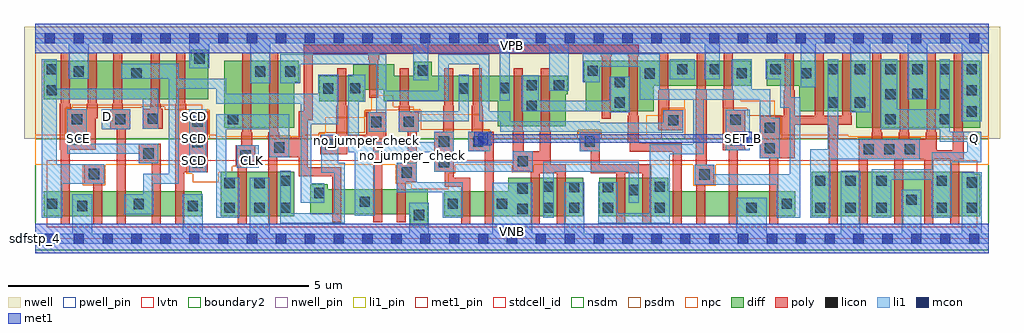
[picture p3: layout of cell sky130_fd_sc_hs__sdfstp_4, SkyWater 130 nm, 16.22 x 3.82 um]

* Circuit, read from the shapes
.subckt sky130_fd_sc_hs__sdfstp_4 CLK D Q SCD SCE SET_B VGND VNB VPB VPWR
XM1 VGND SCE n1 VNB sky130_fd_pr__nfet_01v8_lvt w=0.42 l=0.15
XM2 n2 n1 VGND VNB sky130_fd_pr__nfet_01v8_lvt w=0.42 l=0.15
XM3 n3 D n2 VNB sky130_fd_pr__nfet_01v8_lvt w=0.42 l=0.15
XM4 n4 SCE n3 VNB sky130_fd_pr__nfet_01v8_lvt w=0.42 l=0.15
XM5 VGND SCD n4 VNB sky130_fd_pr__nfet_01v8_lvt w=0.42 l=0.15
XM6 VGND CLK n5 VNB sky130_fd_pr__nfet_01v8_lvt w=0.74 l=0.15
XM7 n6 n5 VGND VNB sky130_fd_pr__nfet_01v8_lvt w=0.74 l=0.15
XM8 n7 n5 n3 VNB sky130_fd_pr__nfet_01v8_lvt w=0.42 l=0.15
XM9 n8 n6 n7 VNB sky130_fd_pr__nfet_01v8_lvt w=0.42 l=0.15
XM10 VGND n9 n8 VNB sky130_fd_pr__nfet_01v8_lvt w=0.42 l=0.15
XM11 n10 n7 n9 VNB sky130_fd_pr__nfet_01v8_lvt w=0.42 l=0.15
XM12 VGND SET_B n10 VNB sky130_fd_pr__nfet_01v8_lvt w=0.42 l=0.15
XM13 n11 n7 VGND VNB sky130_fd_pr__nfet_01v8_lvt w=0.64 l=0.15 m=2
XM14 n11 n6 n12 VNB sky130_fd_pr__nfet_01v8_lvt w=0.64 l=0.15 m=2
XM15 n13 n5 n12 VNB sky130_fd_pr__nfet_01v8_lvt w=0.42 l=0.15
XM16 n14 n15 n13 VNB sky130_fd_pr__nfet_01v8_lvt w=0.42 l=0.15
XM17 VGND SET_B n14 VNB sky130_fd_pr__nfet_01v8_lvt w=0.42 l=0.15
XM18 n15 n12 VGND VNB sky130_fd_pr__nfet_01v8_lvt w=0.42 l=0.15
XM19 VGND n12 n16 VNB sky130_fd_pr__nfet_01v8_lvt w=0.74 l=0.15
XM20 Q n16 VGND VNB sky130_fd_pr__nfet_01v8_lvt w=0.74 l=0.15 m=4
XM21 VPWR SCE n1 VPB sky130_fd_pr__pfet_01v8 w=0.64 l=0.15
XM22 n17 SCE VPWR VPB sky130_fd_pr__pfet_01v8 w=0.64 l=0.15
XM23 n3 D n17 VPB sky130_fd_pr__pfet_01v8 w=0.64 l=0.15
XM24 n18 n1 n3 VPB sky130_fd_pr__pfet_01v8 w=0.64 l=0.15
XM25 VPWR SCD n18 VPB sky130_fd_pr__pfet_01v8 w=0.64 l=0.15
XM26 VPWR CLK n5 VPB sky130_fd_pr__pfet_01v8 w=1.12 l=0.15
XM27 n6 n5 VPWR VPB sky130_fd_pr__pfet_01v8 w=1.12 l=0.15
XM28 n7 n6 n3 VPB sky130_fd_pr__pfet_01v8 w=0.42 l=0.15
XM29 n19 n5 n7 VPB sky130_fd_pr__pfet_01v8 w=0.42 l=0.15
XM30 VPWR n9 n19 VPB sky130_fd_pr__pfet_01v8 w=0.42 l=0.15
XM31 n9 n7 VPWR VPB sky130_fd_pr__pfet_01v8 w=0.42 l=0.15
XM32 VPWR SET_B n9 VPB sky130_fd_pr__pfet_01v8 w=0.42 l=0.15
XM33 n20 n7 VPWR VPB sky130_fd_pr__pfet_01v8 w=0.84 l=0.15 m=2
XM34 n20 n5 n12 VPB sky130_fd_pr__pfet_01v8 w=0.84 l=0.15 m=2
XM35 n21 n6 n12 VPB sky130_fd_pr__pfet_01v8 w=0.42 l=0.15
XM36 VPWR n15 n21 VPB sky130_fd_pr__pfet_01v8 w=0.42 l=0.15
XM37 n12 SET_B VPWR VPB sky130_fd_pr__pfet_01v8 w=0.42 l=0.15
XM38 VPWR n12 n15 VPB sky130_fd_pr__pfet_01v8 w=0.42 l=0.15
XM39 n16 n12 VPWR VPB sky130_fd_pr__pfet_01v8 w=0.84 l=0.15 m=2
XM40 Q n16 VPWR VPB sky130_fd_pr__pfet_01v8 w=1.12 l=0.15 m=4
.ends

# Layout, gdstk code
import gdstk
lib = gdstk.Library(unit=1e-6, precision=1e-09)
def R(c, l, rs):  # rectangles x0, y0, x1, y1
    for r in rs: c.add(gdstk.rectangle(r[:2], r[2:], *l))
def A(c, l, x, y, w, h, nx, ny, dx, dy):  # array of equal rectangles
    R(c, l, [(x+i*dx, y+j*dy, x+i*dx+w, y+j*dy+h) for i in range(nx) for j in range(ny)])
def P(c, l, *ps):  # polygons
    for p in ps: c.add(gdstk.Polygon(p, *l))
nwell_pin = (64, 16)
nwell = (64, 20)
diff = (65, 20)
poly = (66, 20)
licon = (66, 44)
li1_pin = (67, 16)
li1 = (67, 20)
mcon = (67, 44)
met1_pin = (68, 16)
met1 = (68, 20)
stdcell_id = (81, 4)
nsdm = (93, 44)
psdm = (94, 20)
npc = (95, 20)
pwell_pin = (122, 16)
lvtn = (125, 44)
boundary2 = (236, 0)

sky130_fd_sc_hs__sdfstp_ = lib.new_cell('sky130_fd_sc_hs__sdfstp_4')
R(sky130_fd_sc_hs__sdfstp_, nwell_pin, [(0,3.085,15.84,3.33)])
R(sky130_fd_sc_hs__sdfstp_, nwell, [(-0.19,1.66,16.03,3.52)])
R(sky130_fd_sc_hs__sdfstp_, diff, [(0.135,0.37,2.76,0.79), (3.08,0.37,4.3,1.11)])
P(sky130_fd_sc_hs__sdfstp_, diff, [(2.87,3.14),(2.58,3.14),(2.58,2.96),(0.135,2.96),(0.135,2.32),(2.87,2.32)],
  [(4.38,2.96),(3.14,2.96),(3.14,1.84),(4.3,1.84),(4.3,2.6),(4.38,2.6)],
  [(6.52,0.825),(4.86,0.825),(4.86,0.905),(4.57,0.905),(4.57,0.405),(6.23,0.405),(6.23,0.215),(6.52,0.215)],
  [(8.845,2.705),(6.585,2.705),(6.585,2.94),(6.295,2.94),(6.295,2.705),(5.965,2.705),(5.965,2.895),(5.285,2.895),(5.285,2.705),(4.72,2.705),(4.72,2.285),(5.46,2.285),(5.46,2.475),(5.79,2.475),(5.79,2.285),(7.685,2.285),(7.685,1.865),(8.815,1.865),(8.815,2.4),(8.845,2.4)],
  [(9.1,1.01),(7.855,1.01),(7.855,0.79),(6.79,0.79),(6.79,0.37),(9.1,0.37)],
  [(11.885,2.96),(9.115,2.96),(9.115,2.62),(9.145,2.62),(9.145,2.12),(10.275,2.12),(10.275,2.54),(11.885,2.54)],
  [(12.63,0.79),(10.52,0.79),(10.52,1.01),(9.37,1.01),(9.37,0.37),(12.63,0.37)],
  [(15.705,2.96),(12.155,2.96),(12.155,2.54),(12.69,2.54),(12.69,2.12),(13.645,2.12),(13.645,1.84),(15.705,1.84)],
  [(15.705,1.08),(15.6,1.08),(15.6,1.11),(12.9,1.11),(12.9,0.37),(15.705,0.37)])
P(sky130_fd_sc_hs__sdfstp_, poly, [(15.425,1.765),(15.41,1.765),(15.41,3.09),(15.26,3.09),(15.26,1.765),(15.245,1.765),(15.245,1.47),(14.975,1.47),(14.975,1.765),(14.96,1.765),(14.96,3.09),(14.81,3.09),(14.81,1.765),(14.795,1.765),(14.795,1.65),(14.525,1.65),(14.525,1.765),(14.51,1.765),(14.51,3.09),(14.36,3.09),(14.36,1.765),(14.345,1.765),(14.345,1.65),(14.075,1.65),(14.075,1.765),(14.06,1.765),(14.06,3.09),(13.91,3.09),(13.91,1.765),(13.895,1.765),(13.895,1.65),(13.685,1.65),(13.685,0.24),(13.835,0.24),(13.835,1.32),(14.27,1.32),(14.27,0.24),(14.42,0.24),(14.42,1.32),(14.77,1.32),(14.77,0.24),(14.92,0.24),(14.92,1.32),(15.2,1.32),(15.2,0.24),(15.35,0.24),(15.35,1.32),(15.425,1.32)],
  [(13.57,2.045),(13.555,2.045),(13.555,3.09),(13.405,3.09),(13.405,2.045),(13.39,2.045),(13.39,2.04),(13.12,2.04),(13.12,2.045),(13.105,2.045),(13.105,3.09),(12.955,3.09),(12.955,2.045),(12.94,2.045),(12.94,2.04),(12.615,2.04),(12.615,2.465),(12.6,2.465),(12.6,3.09),(12.45,3.09),(12.45,2.465),(12.435,2.465),(12.435,2.04),(12.04,2.04),(12.04,1.34),(12.195,1.34),(12.195,0.24),(12.345,0.24),(12.345,1.34),(12.615,1.34),(12.615,1.89),(13.185,1.89),(13.185,0.24),(13.335,0.24),(13.335,1.89),(13.57,1.89)],
  [(11.8,2.14),(11.605,2.14),(11.605,2.465),(11.59,2.465),(11.59,3.09),(11.44,3.09),(11.44,2.465),(11.425,2.465),(11.425,1.47),(11.525,1.47),(11.525,0.24),(11.675,0.24),(11.675,1.47),(11.8,1.47)],
  [(11.285,1.23),(11.155,1.23),(11.155,2.465),(11.14,2.465),(11.14,3.09),(10.99,3.09),(10.99,2.465),(10.975,2.465),(10.975,1.23),(10.955,1.23),(10.955,0.9),(10.985,0.9),(10.985,0.24),(11.135,0.24),(11.135,0.9),(11.285,0.9)],
  [(10.765,2.135),(10.53,2.135),(10.53,2.465),(10.515,2.465),(10.515,3.09),(10.365,3.09),(10.365,2.465),(10.35,2.465),(10.35,1.805),(10.765,1.805)],
  [(10.745,1.595),(10.025,1.595),(10.025,2.045),(10.01,2.045),(10.01,3.035),(10.025,3.035),(10.025,3.225),(4.455,3.225),(4.455,2.12),(4.375,2.12),(4.375,1.68),(4.05,1.68),(4.05,1.765),(4.035,1.765),(4.035,3.09),(3.885,3.09),(3.885,1.765),(3.87,1.765),(3.87,1.68),(3.865,1.68),(3.865,0.24),(4.015,0.24),(4.015,1.35),(4.375,1.35),(4.375,1.04),(4.935,1.04),(4.935,0.275),(5.085,0.275),(5.085,1.19),(4.525,1.19),(4.525,1.97),(4.605,1.97),(4.605,3.075),(5.535,3.075),(5.535,2.97),(5.55,2.97),(5.55,2.345),(5.7,2.345),(5.7,2.97),(5.715,2.97),(5.715,3.075),(9.395,3.075),(9.395,3.035),(9.41,3.035),(9.41,1.99),(9.56,1.99),(9.56,3.035),(9.575,3.035),(9.575,3.075),(9.845,3.075),(9.845,3.035),(9.86,3.035),(9.86,2.045),(9.845,2.045),(9.845,1.595),(9.875,1.595),(9.875,1.445),(10.595,1.445),(10.595,0.24),(10.745,0.24)],
  [(10.235,1.235),(9.375,1.235),(9.375,1.78),(9.045,1.78),(9.045,1.45),(9.225,1.45),(9.225,1.085),(9.655,1.085),(9.655,0.24),(9.805,0.24),(9.805,1.085),(10.085,1.085),(10.085,0.24),(10.235,0.24)],
  [(8.815,1.235),(8.565,1.235),(8.565,1.79),(8.55,1.79),(8.55,2.835),(8.4,2.835),(8.4,1.79),(8.385,1.79),(8.385,1.45),(8.115,1.45),(8.115,1.79),(8.1,1.79),(8.1,2.835),(7.95,2.835),(7.95,1.79),(7.935,1.79),(7.935,1.12),(8.235,1.12),(8.235,0.24),(8.385,0.24),(8.385,1.085),(8.665,1.085),(8.665,0.24),(8.815,0.24)],
  [(7.615,1.78),(7.435,1.78),(7.435,2.21),(7.42,2.21),(7.42,2.835),(7.27,2.835),(7.27,2.21),(7.255,2.21),(7.255,1.78),(7.195,1.78),(7.195,1.45),(7.465,1.45),(7.465,0.24),(7.615,0.24)],
  [(7.225,1.015),(6.955,1.015),(6.955,2.21),(6.94,2.21),(6.94,2.835),(6.79,2.835),(6.79,2.21),(6.775,2.21),(6.775,1.78),(6.625,1.78),(6.625,1.11),(6.805,1.11),(6.805,0.865),(7.075,0.865),(7.075,0.24),(7.225,0.24)],
  [(6.37,2.11),(6.22,2.11),(6.22,2.21),(6.205,2.21),(6.205,2.835),(6.055,2.835),(6.055,2.21),(6.04,2.21),(6.04,1.78),(6.185,1.78),(6.185,1.265),(6.005,1.265),(6.005,0.275),(6.155,0.275),(6.155,0.935),(6.335,0.935),(6.335,1.78),(6.37,1.78)],
  [(5.83,2.105),(5.5,2.105),(5.5,1.73),(5.18,1.73),(5.18,2.21),(5.165,2.21),(5.165,2.835),(5.015,2.835),(5.015,2.21),(5,2.21),(5,1.73),(4.735,1.73),(4.735,1.4),(5.18,1.4),(5.18,1.58),(5.615,1.58),(5.615,0.275),(5.765,0.275),(5.765,1.58),(5.83,1.58)],
  [(3.655,1.55),(3.6,1.55),(3.6,1.765),(3.585,1.765),(3.585,3.09),(3.435,3.09),(3.435,1.765),(3.42,1.765),(3.42,1.55),(3.325,1.55),(3.325,1.22),(3.365,1.22),(3.365,0.24),(3.515,0.24),(3.515,1.22),(3.655,1.22)],
  [(2.86,2.11),(2.505,2.11),(2.505,2.245),(2.49,2.245),(2.49,3.09),(2.34,3.09),(2.34,2.245),(2.325,2.245),(2.325,0.24),(2.475,0.24),(2.475,1.1),(2.86,1.1)],
  [(2.115,2.16),(2.085,2.16),(2.085,2.245),(2.07,2.245),(2.07,3.09),(1.92,3.09),(1.92,2.245),(1.905,2.245),(1.905,2.16),(1.785,2.16),(1.785,1.83),(2.115,1.83)],
  [(2.085,1.58),(1.715,1.58),(1.715,1.25),(1.935,1.25),(1.935,0.24),(2.085,0.24)],
  [(1.575,2.15),(1.455,2.15),(1.455,2.245),(1.44,2.245),(1.44,3.09),(1.29,3.09),(1.29,2.245),(1.275,2.245),(1.275,2.15),(1.245,2.15),(1.245,1.82),(1.35,1.82),(1.35,0.24),(1.5,0.24),(1.5,1.82),(1.575,1.82)],
  [(1.14,1.24),(0.81,1.24),(0.81,0.91),(0.96,0.91),(0.96,0.24),(1.11,0.24),(1.11,0.91),(1.14,0.91)],
  [(1.035,2.245),(1.02,2.245),(1.02,3.09),(0.87,3.09),(0.87,2.245),(0.855,2.245),(0.855,2.15),(0.585,2.15),(0.585,2.245),(0.57,2.245),(0.57,3.09),(0.42,3.09),(0.42,2.245),(0.405,2.245),(0.405,1.48),(0.42,1.48),(0.42,0.24),(0.57,0.24),(0.57,1.48),(1.005,1.48),(1.005,2),(1.035,2)])
A(sky130_fd_sc_hs__sdfstp_, licon, 2.61, 1.18, 0.17, 0.17, 1, 3, 0, 0.34)
A(sky130_fd_sc_hs__sdfstp_, licon, 13.765, 1.4, 0.17, 0.17, 3, 1, 0.34, 0)
A(sky130_fd_sc_hs__sdfstp_, licon, 14.125, 2.73, 0.17, 0.17, 4, 1, 0.45, 0)
R(sky130_fd_sc_hs__sdfstp_, licon, [(6.29,0.31,6.46,0.48), (8.01,0.41,8.18,0.58), (3.14,0.43,3.31,0.6), (3.64,0.43,3.81,0.6), (4.07,0.43,4.24,0.6), (8.44,0.43,8.61,0.6), (8.87,0.43,9.04,0.6), (9.43,0.43,9.6,0.6), (10.29,0.43,10.46,0.6), (11.815,0.43,11.985,0.6), (12.96,0.43,13.13,0.6), (13.46,0.43,13.63,0.6), (13.975,0.43,14.145,0.6), (14.975,0.43,15.145,0.6), (15.475,0.43,15.645,0.6), (0.695,0.46,0.865,0.63), (2.53,0.46,2.7,0.63), (1.63,0.49,1.8,0.66), (0.195,0.495,0.365,0.665), (6.85,0.495,7.02,0.665), (7.67,0.495,7.84,0.665), (12.4,0.495,12.57,0.665), (5.39,0.53,5.56,0.7), (14.475,0.56,14.645,0.73), (4.63,0.675,4.8,0.845), (9.86,0.725,10.03,0.895), (8.01,0.75,8.18,0.92), (8.87,0.77,9.04,0.94), (9.43,0.77,9.6,0.94), (8.44,0.78,8.61,0.95), (10.29,0.78,10.46,0.95), (3.14,0.84,3.31,1.01), (3.64,0.84,3.81,1.01), (15.475,0.85,15.645,1.02), (4.07,0.88,4.24,1.05), (12.96,0.88,13.13,1.05), (13.46,0.88,13.63,1.05), (13.975,0.88,14.145,1.05), (14.975,0.88,15.145,1.05), (11.035,0.98,11.205,1.15), (0.89,0.99,1.06,1.16), (6.085,1.015,6.255,1.185), (6.705,1.19,6.875,1.36), (8.015,1.2,8.185,1.37), (3.405,1.3,3.575,1.47), (1.795,1.33,1.965,1.5), (12.12,1.42,12.29,1.59), (3.965,1.43,4.135,1.6), (4.815,1.48,4.985,1.65), (6.705,1.53,6.875,1.7), (7.275,1.53,7.445,1.7), (9.125,1.53,9.295,1.7), (11.55,1.55,11.72,1.72), (0.605,1.56,0.775,1.73), (12.12,1.76,12.29,1.93), (5.58,1.855,5.75,2.025), (6.12,1.86,6.29,2.03), (10.515,1.885,10.685,2.055), (11.55,1.89,11.72,2.06), (0.605,1.9,0.775,2.07), (1.325,1.9,1.495,2.07), (3.2,1.9,3.37,2.07), (14.125,1.9,14.295,2.07), (15.025,1.9,15.195,2.07), (1.865,1.91,2.035,2.08), (15.475,2.03,15.645,2.2), (8.165,2.12,8.335,2.29), (9.625,2.18,9.795,2.35), (13.17,2.18,13.34,2.35), (13.62,2.18,13.79,2.35), (14.125,2.315,14.295,2.485), (15.025,2.315,15.195,2.485), (14.575,2.32,14.745,2.49), (0.185,2.38,0.355,2.55), (15.475,2.38,15.645,2.55), (4.78,2.41,4.95,2.58), (7.035,2.41,7.205,2.58), (5.23,2.415,5.4,2.585), (7.715,2.42,7.885,2.59), (8.165,2.465,8.335,2.635), (8.615,2.465,8.785,2.635), (9.625,2.52,9.795,2.69), (1.595,2.66,1.765,2.83), (10.125,2.66,10.295,2.83), (11.655,2.665,11.825,2.835), (12.72,2.665,12.89,2.835), (0.635,2.695,0.805,2.865), (3.65,2.695,3.82,2.865), (4.15,2.695,4.32,2.865), (9.175,2.705,9.345,2.875), (6.355,2.71,6.525,2.88), (0.185,2.73,0.355,2.9), (10.665,2.73,10.835,2.9), (11.205,2.73,11.375,2.9), (12.215,2.73,12.385,2.9), (13.17,2.73,13.34,2.9), (13.62,2.73,13.79,2.9), (2.64,2.91,2.81,3.08)])
A(sky130_fd_sc_hs__sdfstp_, li1_pin, 2.555, 1.21, 0.17, 0.17, 1, 3, 0, 0.37)
R(sky130_fd_sc_hs__sdfstp_, li1_pin, [(3.515,1.21,3.685,1.38), (0.635,1.58,0.805,1.75), (15.515,1.58,15.685,1.75), (1.115,1.95,1.285,2.12)])
R(sky130_fd_sc_hs__sdfstp_, li1, [(2.555,1.1,2.835,2.15), (3.345,1.18,3.715,1.55), (7.195,1.45,7.555,1.78), (11.47,1.47,11.87,2.14), (1.105,1.82,1.575,2.15), (10.545,2.65,10.955,2.98)])
P(sky130_fd_sc_hs__sdfstp_, li1, [(0.445,0.35),(0.105,0.35),(0.105,2.98),(0.355,2.98),(0.355,2.49),(2.045,2.49),(2.045,1.83),(1.785,1.83),(1.785,2.32),(0.355,2.32),(0.355,1.24),(1.14,1.24),(1.14,0.91),(0.445,0.91)],
  [(12.72,2.52),(12.72,3.245),(11.375,3.245),(11.375,2.65),(11.125,2.65),(11.125,3.245),(8.865,3.245),(8.865,2.46),(8.535,2.46),(8.535,3.245),(7.885,3.245),(7.885,2.29),(7.715,2.29),(7.715,3.245),(6.525,3.245),(6.525,2.63),(6.275,2.63),(6.275,3.245),(3.9,3.245),(3.9,2.58),(3.57,2.58),(3.57,3.245),(2.89,3.245),(2.89,2.83),(2.56,2.83),(2.56,3.245),(0.885,3.245),(0.885,2.66),(0.555,2.66),(0.555,3.245),(0,3.245),(0,3.415),(15.84,3.415),(15.84,3.245),(15.725,3.245),(15.725,1.95),(15.395,1.95),(15.395,3.245),(14.825,3.245),(14.825,2.32),(14.495,2.32),(14.495,3.245),(13.87,3.245),(13.87,2.1),(13.54,2.1),(13.54,3.245),(12.97,3.245),(12.97,2.52)],
  [(0.615,0.085),(0.615,0.74),(0.945,0.74),(0.945,0.085),(2.45,0.085),(2.45,0.74),(2.78,0.74),(2.78,0.085),(3.56,0.085),(3.56,1.01),(3.89,1.01),(3.89,0.085),(6.21,0.085),(6.21,0.6),(6.54,0.6),(6.54,0.085),(7.59,0.085),(7.59,0.93),(8.26,0.93),(8.26,0.085),(8.79,0.085),(8.79,0.94),(9.12,0.94),(9.12,0.085),(11.65,0.085),(11.65,0.68),(12.15,0.68),(12.15,0.085),(13.38,0.085),(13.38,1.13),(13.71,1.13),(13.71,0.085),(14.395,0.085),(14.395,0.81),(14.725,0.81),(14.725,0.085),(15.395,0.085),(15.395,1.1),(15.725,1.1),(15.725,0.085),(15.84,0.085),(15.84,-0.085),(0,-0.085),(0,0.085)],
  [(11.285,1.07),(12.54,1.07),(12.54,2.18),(12.38,2.18),(12.38,2.65),(12.135,2.65),(12.135,2.98),(12.55,2.98),(12.55,2.35),(12.71,2.35),(12.71,0.35),(12.32,0.35),(12.32,0.9),(10.955,0.9),(10.955,1.23),(11.285,1.23)],
  [(0.525,2.15),(0.855,2.15),(0.855,1.58),(2.045,1.58),(2.045,1.25),(1.715,1.25),(1.715,1.41),(0.525,1.41)],
  [(2.385,2.66),(3.175,2.66),(3.175,2.41),(4.7,2.41),(4.7,2.725),(5.03,2.725),(5.03,1.9),(4.58,1.9),(4.58,0.925),(4.8,0.925),(4.8,0.595),(4.41,0.595),(4.41,2.24),(3.005,2.24),(3.005,2.49),(2.385,2.49),(2.385,0.91),(1.96,0.91),(1.96,0.41),(1.475,0.41),(1.475,0.74),(1.79,0.74),(1.79,1.08),(2.215,1.08),(2.215,2.66),(1.425,2.66),(1.425,2.91),(2.385,2.91)],
  [(9.86,1.11),(8.61,1.11),(8.61,0.35),(8.44,0.35),(8.44,1.28),(10.03,1.28),(10.03,0.595),(9.86,0.595)],
  [(4.75,1.095),(4.75,1.73),(5.03,1.73),(5.03,1.265),(5.14,1.265),(5.14,0.255),(4.07,0.255),(4.07,1.13),(4.24,1.13),(4.24,0.425),(4.97,0.425),(4.97,1.095)],
  [(5.37,1.605),(6.625,1.605),(6.625,1.78),(6.955,1.78),(6.955,1.28),(7.935,1.28),(7.935,1.45),(8.265,1.45),(8.265,1.11),(6.625,1.11),(6.625,1.435),(5.64,1.435),(5.64,0.385),(5.31,0.385),(5.31,1.435),(5.2,1.435),(5.2,2.725),(5.48,2.725),(5.48,2.275),(5.37,2.275)],
  [(3.005,2.07),(4.215,2.07),(4.215,1.35),(3.885,1.35),(3.885,1.82),(3.175,1.82),(3.175,1.01),(3.39,1.01),(3.39,0.35),(3.005,0.35)],
  [(7.205,1.95),(6.37,1.95),(6.37,1.78),(6.04,1.78),(6.04,2.12),(7.035,2.12),(7.035,2.725),(7.205,2.725)],
  [(12.37,2.01),(12.21,2.01),(12.21,2.48),(11.905,2.48),(11.905,2.98),(11.575,2.98),(11.575,2.48),(10.375,2.48),(10.375,3.075),(9.095,3.075),(9.095,2.6),(9.375,2.6),(9.375,2.86),(10.045,2.86),(10.045,2.31),(10.935,2.31),(10.935,1.57),(10.21,1.57),(10.21,0.425),(9.68,0.425),(9.68,0.94),(9.35,0.94),(9.35,0.255),(10.54,0.255),(10.54,1.4),(11.105,1.4),(11.105,2.31),(12.04,2.31),(12.04,1.34),(12.37,1.34)],
  [(15.715,1.78),(15.195,1.78),(15.195,2.98),(15.025,2.98),(15.025,2.15),(14.325,2.15),(14.325,2.98),(14.045,2.98),(14.045,1.82),(15.025,1.82),(15.025,1.61),(15.485,1.61),(15.485,1.44),(14.895,1.44),(14.895,1.15),(13.895,1.15),(13.895,0.35),(14.225,0.35),(14.225,0.98),(14.895,0.98),(14.895,0.35),(15.225,0.35),(15.225,1.27),(15.715,1.27)],
  [(6.77,0.35),(6.77,0.77),(6.005,0.77),(6.005,1.265),(6.335,1.265),(6.335,0.94),(7.1,0.94),(7.1,0.35)],
  [(7.375,1.95),(7.375,2.895),(6.865,2.895),(6.865,2.29),(5.83,2.29),(5.83,1.775),(5.54,1.775),(5.54,2.105),(5.66,2.105),(5.66,2.895),(4.4,2.895),(4.4,2.58),(4.07,2.58),(4.07,3.065),(5.83,3.065),(5.83,2.46),(6.695,2.46),(6.695,3.065),(7.545,3.065),(7.545,2.12),(7.895,2.12),(7.895,1.95),(9.375,1.95),(9.375,1.93),(10.435,1.93),(10.435,2.135),(10.765,2.135),(10.765,1.76),(9.375,1.76),(9.375,1.45),(9.045,1.45),(9.045,1.78),(7.725,1.78),(7.725,1.95)],
  [(9.875,2.69),(9.545,2.69),(9.545,2.29),(8.365,2.29),(8.365,2.715),(8.085,2.715),(8.085,2.12),(9.545,2.12),(9.545,2.1),(9.875,2.1)],
  [(13.17,2.98),(13.34,2.98),(13.34,1.65),(14.695,1.65),(14.695,1.32),(13.21,1.32),(13.21,0.35),(12.88,0.35),(12.88,1.49),(13.17,1.49)])
A(sky130_fd_sc_hs__sdfstp_, mcon, 0.155, -0.085, 0.17, 0.17, 33, 2, 0.48, 3.33)
R(sky130_fd_sc_hs__sdfstp_, mcon, [(7.355,1.58,7.525,1.75), (11.675,1.58,11.845,1.75)])
R(sky130_fd_sc_hs__sdfstp_, met1_pin, [(0,0,15.84,0.245), (11.675,1.58,11.845,1.75), (0,3.085,15.84,3.33)])
R(sky130_fd_sc_hs__sdfstp_, met1, [(0,-0.245,15.84,0.245), (0,3.085,15.84,3.575)])
P(sky130_fd_sc_hs__sdfstp_, met1, [(7.585,1.735),(11.615,1.735),(11.615,1.78),(11.905,1.78),(11.905,1.55),(11.615,1.55),(11.615,1.595),(7.585,1.595),(7.585,1.55),(7.295,1.55),(7.295,1.78),(7.585,1.78)])
R(sky130_fd_sc_hs__sdfstp_, stdcell_id, [(0,0,15.84,3.33)])
R(sky130_fd_sc_hs__sdfstp_, nsdm, [(0,-0.19,15.84,1.66)])
P(sky130_fd_sc_hs__sdfstp_, psdm, [(15.84,3.52),(0,3.52),(0,1.66),(0.495,1.66),(0.495,2.18),(1.755,2.18),(1.755,2.19),(2.145,2.19),(2.145,2.14),(2.89,2.14),(2.89,1.66),(3.855,1.66),(3.855,1.71),(4.245,1.71),(4.245,1.66),(4.705,1.66),(4.705,1.76),(5.47,1.76),(5.47,2.135),(6.01,2.135),(6.01,2.14),(6.4,2.14),(6.4,1.81),(7.555,1.81),(7.555,1.66),(9.015,1.66),(9.015,1.81),(9.405,1.81),(9.405,1.66),(10.405,1.66),(10.405,2.165),(10.795,2.165),(10.795,1.66),(11.44,1.66),(11.44,2.17),(11.83,2.17),(11.83,2.04),(12.4,2.04),(12.4,1.66),(13.655,1.66),(13.655,1.68),(14.725,1.68),(14.725,1.66),(15.84,1.66)])
P(sky130_fd_sc_hs__sdfstp_, npc, [(15.84,1.7),(13.505,1.7),(13.505,1.73),(12.39,1.73),(12.39,2.03),(12.285,2.03),(12.285,2.295),(11.715,2.295),(11.715,2.315),(10.785,2.315),(10.785,2.155),(10.415,2.155),(10.415,2.05),(10.15,2.05),(10.15,1.73),(9.395,1.73),(9.395,1.8),(9.025,1.8),(9.025,1.73),(8.955,1.73),(8.955,1.725),(7.545,1.725),(7.545,1.8),(7.44,1.8),(7.44,2.065),(6.39,2.065),(6.39,2.13),(6.285,2.13),(6.285,2.195),(5.95,2.195),(5.95,2.385),(5.585,2.385),(5.585,2.125),(5.48,2.125),(5.48,2.02),(5.215,2.02),(5.215,2.015),(4.82,2.015),(4.82,1.75),(4.715,1.75),(4.715,1.73),(4.44,1.73),(4.44,1.7),(3,1.7),(3,1.73),(2.88,1.73),(2.88,2.13),(2.775,2.13),(2.775,2.23),(0.61,2.23),(0.61,2.17),(0.505,2.17),(0.505,1.73),(0,1.73),(0,1.23),(0.79,1.23),(0.79,0.89),(1.16,0.89),(1.16,1.23),(2.51,1.23),(2.51,1.08),(2.615,1.08),(2.615,0.935),(3.05,0.935),(3.05,1.1),(3.275,1.1),(3.275,1.2),(3.675,1.2),(3.675,1.23),(5.985,1.23),(5.985,0.915),(6.245,0.915),(6.245,0.825),(6.87,0.825),(6.87,1.09),(6.975,1.09),(6.975,1.23),(7.915,1.23),(7.915,1.1),(8.285,1.1),(8.285,1.23),(10.935,1.23),(10.935,0.88),(11.305,0.88),(11.305,1.23),(15.84,1.23)])
R(sky130_fd_sc_hs__sdfstp_, pwell_pin, [(0,0,15.84,0.245)])
R(sky130_fd_sc_hs__sdfstp_, lvtn, [(0.19,0.19,15.65,1.3)])
R(sky130_fd_sc_hs__sdfstp_, boundary2, [(0,0,15.84,3.33)])
sky130_fd_sc_hs__sdfstp_.add(gdstk.Label('sdfstp_4', (0,0), layer=83, texttype=44))
sky130_fd_sc_hs__sdfstp_.add(gdstk.Label('no_jumper_check', (6.26,1.375), layer=83, texttype=44))
sky130_fd_sc_hs__sdfstp_.add(gdstk.Label('no_jumper_check', (5.5,1.64), layer=83, texttype=44))
sky130_fd_sc_hs__sdfstp_.add(gdstk.Label('VNB', (7.92,0.123), layer=64, texttype=59))
sky130_fd_sc_hs__sdfstp_.add(gdstk.Label('VPB', (7.92,3.208), layer=64, texttype=5))
sky130_fd_sc_hs__sdfstp_.add(gdstk.Label('SET_B', (11.76,1.665), layer=68, texttype=5))
sky130_fd_sc_hs__sdfstp_.add(gdstk.Label('VPWR', (7.92,3.208), layer=68, texttype=5))
sky130_fd_sc_hs__sdfstp_.add(gdstk.Label('VGND', (7.92,0.123), layer=68, texttype=5))
sky130_fd_sc_hs__sdfstp_.add(gdstk.Label('CLK', (3.6,1.295), layer=67, texttype=5))
sky130_fd_sc_hs__sdfstp_.add(gdstk.Label('SCE', (0.72,1.665), layer=67, texttype=5))
sky130_fd_sc_hs__sdfstp_.add(gdstk.Label('D', (1.2,2.035), layer=67, texttype=5))
sky130_fd_sc_hs__sdfstp_.add(gdstk.Label('SCD', (2.64,1.295), layer=67, texttype=5))
sky130_fd_sc_hs__sdfstp_.add(gdstk.Label('SCD', (2.64,1.665), layer=67, texttype=5))
sky130_fd_sc_hs__sdfstp_.add(gdstk.Label('SCD', (2.64,2.035), layer=67, texttype=5))
sky130_fd_sc_hs__sdfstp_.add(gdstk.Label('Q', (15.6,1.665), layer=67, texttype=5))

lib.write_gds('sky130_fd_sc_hs__sdfstp_4.gds')
